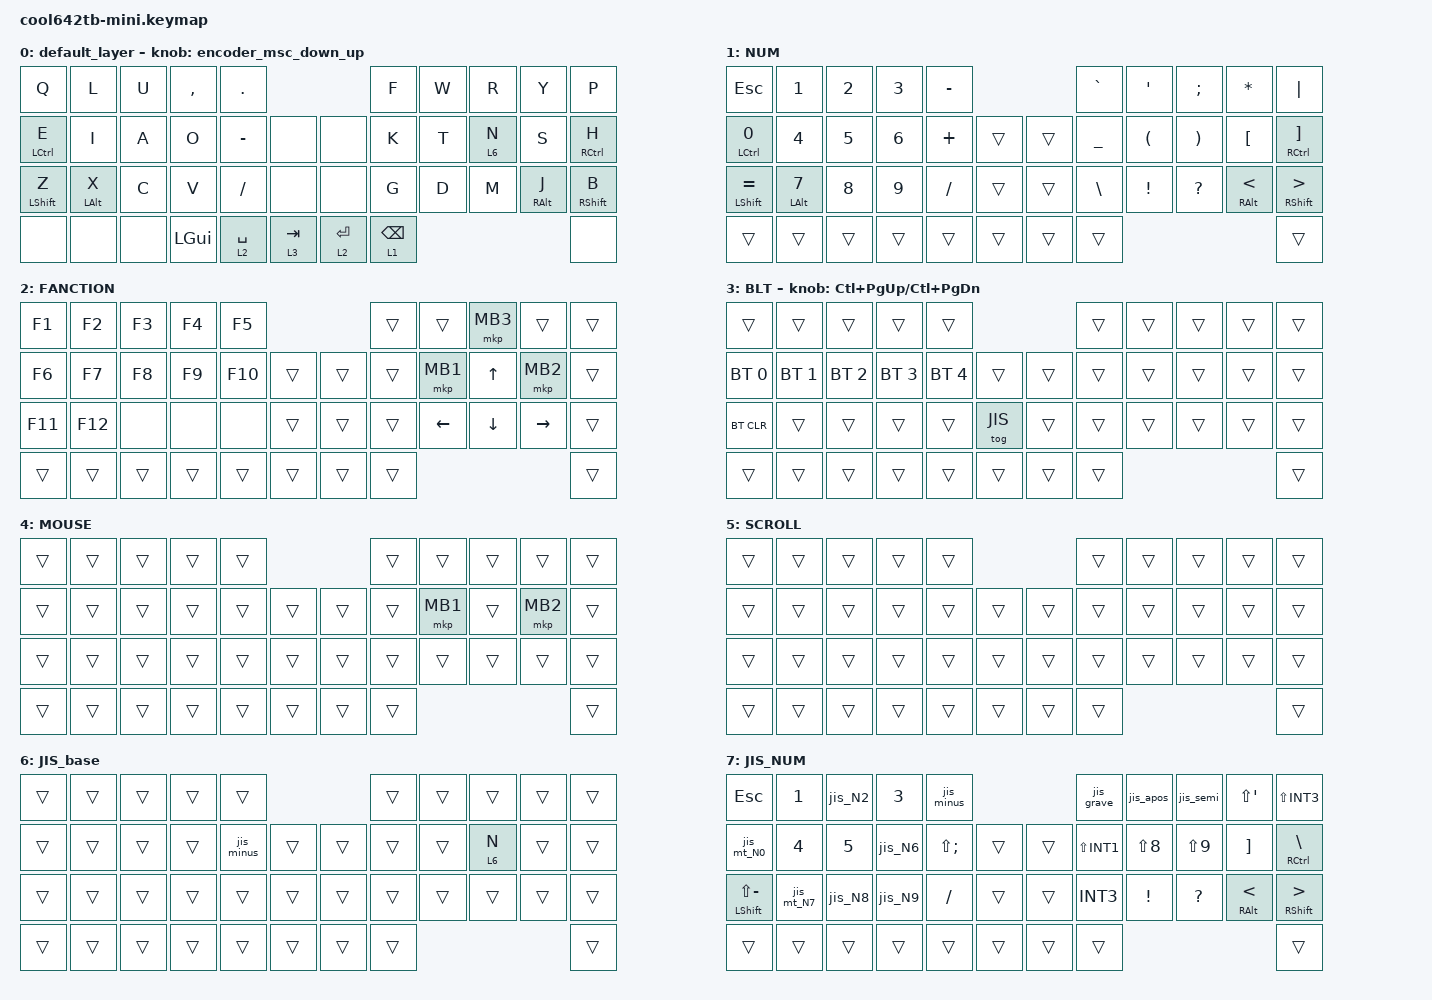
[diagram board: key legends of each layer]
#include <behaviors.dtsi>
#include <dt-bindings/zmk/bt.h>
#include <dt-bindings/zmk/keys.h>
#include <dt-bindings/zmk/pointing.h>


#define MOUSE 4
// #define SCROLL 5
#define JIS 5
#define JIS_NUM 7
#define SCROLL 6
#define ZMK_POINTING_DEFAULT_SCRL_VAL 80

&mt {
    flavor = "balanced";
    quick-tap-ms = <0>;
};

/ {
    combos {
        compatible = "zmk,combos";

        shift_tab {
            bindings = <&kp LANG2>;
            key-positions = <12 13>;
        };

        lang {
            bindings = <&kp LANG1>;
            key-positions = <18 19>;
        };
    };
    // NUM(1) + JIS(6) → JIS_NUM(7)
    conditional_layers {
        compatible = "zmk,conditional-layers";

        jis_num_activate {
            if-layers = <1 JIS>;
            then-layer = <JIS_NUM>;
        };
    };


    behaviors {
        encoder_msc_down_up: encoder_msc_down_up {
            compatible = "zmk,behavior-sensor-rotate";
            label = "ENCODER_MSC_DOWN_UP";
            #sensor-binding-cells = <0>;
            bindings = <&msc SCRL_UP>,<&msc SCRL_DOWN>;
            tap-ms = <20>;
        };

        // JIS mod-morph: [unshifted, shifted]
        // mod-morph consumes shift; LS() supplies its own

        jis_minus: jis_minus {  // - / _ → LS(INT1)
            compatible = "zmk,behavior-mod-morph";
            #binding-cells = <0>;
            bindings = <&kp MINUS>, <&kp LS(INT1)>;
            mods = <(MOD_LSFT|MOD_RSFT)>;
        };

        jis_grave: jis_grave {  // ` → LS(LBKT) / ~ → LS(EQUAL)
            compatible = "zmk,behavior-mod-morph";
            #binding-cells = <0>;
            bindings = <&kp LS(LBKT)>, <&kp LS(EQUAL)>;
            mods = <(MOD_LSFT|MOD_RSFT)>;
        };

        jis_apos: jis_apos {  // ' → LS(N7) / " → LS(N2)
            compatible = "zmk,behavior-mod-morph";
            #binding-cells = <0>;
            bindings = <&kp LS(N7)>, <&kp LS(N2)>;
            mods = <(MOD_LSFT|MOD_RSFT)>;
        };

        jis_semi: jis_semi {  // ; (same) / : → APOS
            compatible = "zmk,behavior-mod-morph";
            #binding-cells = <0>;
            bindings = <&kp SEMI>, <&kp APOS>;
            mods = <(MOD_LSFT|MOD_RSFT)>;
        };
        // Add N2, N6
        jis_N2: jis_N2 {  // 2 (same) / AT_SIGN → LBKT
            compatible = "zmk,behavior-mod-morph";
            #binding-cells = <0>;
            bindings = <&kp N2>, <&kp LBKT>;
            mods = <(MOD_LSFT|MOD_RSFT)>;
        };

        jis_N6: jis_N6 {  // 6 (same) / CARET → EQUAL
            compatible = "zmk,behavior-mod-morph";
            #binding-cells = <0>;
            bindings = <&kp N6>, <&kp EQUAL>;
            mods = <(MOD_LSFT|MOD_RSFT)>;
        };

        jis_N7: jis_N7 {  // 7 (same) / AMPERSAND → CARET
            compatible = "zmk,behavior-mod-morph";
            #binding-cells = <0>;
            bindings = <&kp N7>, <&kp CARET>;
            mods = <(MOD_LSFT|MOD_RSFT)>;
        };

        jis_mt_N7: jis_mt_N7 {
            compatible = "zmk,behavior-mod-morph";
            #binding-cells = <0>;
            bindings = <&mt LEFT_ALT N7>, <&mt LEFT_ALT CARET>;
            mods = <(MOD_LSFT|MOD_RSFT)>;
        };

        jis_N8: jis_N8 {  // 8 (same) / ASTERISK → DOUBLE_QUOTES
            compatible = "zmk,behavior-mod-morph";
            #binding-cells = <0>;
            bindings = <&kp N8>, <&kp DOUBLE_QUOTES>;
            mods = <(MOD_LSFT|MOD_RSFT)>;
        };

        jis_N9: jis_N9 {  // 9 (same) / LEFT_PARENTHESIS → ASTERISK
            compatible = "zmk,behavior-mod-morph";
            #binding-cells = <0>;
            bindings = <&kp N9>, <&kp ASTERISK>;
            mods = <(MOD_LSFT|MOD_RSFT)>;
        };

        jis_N0: jis_N0 {  // 0 (same) / RIGHT_PARENTHESIS → LEFT_PARENTHESIS
            compatible = "zmk,behavior-mod-morph";
            #binding-cells = <0>;
            bindings = <&kp N0>, <&kp LEFT_PARENTHESIS>;
            mods = <(MOD_LSFT|MOD_RSFT)>;
        };

        jis_mt_N0: jis_mt_N0 {
            compatible = "zmk,behavior-mod-morph";
            #binding-cells = <0>;
            bindings = <&mt LEFT_CONTROL N0>, <&mt LEFT_CONTROL LEFT_PARENTHESIS>;
            mods = <(MOD_LSFT|MOD_RSFT)>;
        };
    };
    
     

    keymap {
        compatible = "zmk,keymap";

        default_layer {  // 0 : default = US;
            bindings = <
&kp Q               &kp L             &kp U       &kp COMMA     &kp DOT                                            &kp F        &kp W  &kp R      &kp Y            &kp P
&mt LEFT_CONTROL E  &kp I             &kp A       &kp O         &kp MINUS    &none              &none              &kp K        &kp T  &lt 6 N    &kp S            &mt RIGHT_CONTROL H
&mt LSHIFT Z        &mt LEFT_ALT X    &kp C       &kp V         &kp SLASH    &none              &none              &kp G        &kp D  &kp M      &mt RIGHT_ALT J  &mt RSHIFT B
&none               &none             &none       &kp LEFT_GUI  &lt 2 SPACE  &lt 3 TAB          &lt 2 ENTER        &lt 1 BACKSPACE                                 &none
            >;
            
            
            sensor-bindings = <&encoder_msc_down_up>;
        };

        NUM { // 1 : US Num/Sym;
            bindings = <
&kp ESC              &kp N1          &kp N2  &kp N3  &kp MINUS                           &kp GRAVE  &kp APOS   &kp SEMI   &kp STAR          &kp PIPE
&mt LEFT_CONTROL N0  &kp N4          &kp N5  &kp N6  &kp PLUS   &trans         &trans    &kp UNDER  &kp LPAR   &kp RPAR   &kp LBKT          &mt RIGHT_CONTROL RBKT
&mt LSHIFT EQUAL     &mt LEFT_ALT N7   &kp N8  &kp N9  &kp SLASH  &trans       &trans    &kp BSLH   &kp EXCL   &kp QMARK  &mt RIGHT_ALT LT  &mt RSHIFT GT
&trans               &trans           &trans  &trans  &trans     &trans        &trans    &trans                                             &trans
            >;
        };

        FANCTION { // 2
            bindings = <
&kp F1   &kp F2   &kp F3  &kp F4  &kp F5                                &trans    &trans           &mkp MB3        &trans           &trans
&kp F6   &kp F7   &kp F8  &kp F9  &kp F10    &trans         &trans      &trans    &mkp MB1         &kp UP_ARROW    &mkp MB2         &trans
&kp F11  &kp F12  &none   &none   &none      &trans         &trans      &trans    &kp LEFT_ARROW   &kp DOWN_ARROW  &kp RIGHT_ARROW  &trans
&trans   &trans   &trans  &trans  &trans     &trans         &trans      &trans                                                      &trans
            >;
        };

        BLT { // 3
            bindings = <
&trans        &trans        &trans        &trans        &trans                             &trans  &trans  &trans  &trans  &trans
&bt BT_SEL 0  &bt BT_SEL 1  &bt BT_SEL 2  &bt BT_SEL 3  &bt BT_SEL 4   &trans      &trans  &trans  &trans  &trans  &trans  &trans
&bt BT_CLR    &trans        &trans        &trans        &trans         &tog JIS     &trans  &trans  &trans  &trans  &trans  &trans
&trans        &trans        &trans        &trans        &trans         &trans      &trans  &trans                          &trans
            >;

            sensor-bindings = <&inc_dec_kp LC(PAGE_UP) LC(PAGE_DOWN)>;
        };

        MOUSE { // 4
            bindings = <
&trans  &trans  &trans  &trans  &trans                      &trans  &trans    &trans  &trans    &trans
&trans  &trans  &trans  &trans  &trans  &trans      &trans  &trans  &mkp MB1  &trans  &mkp MB2  &trans
&trans  &trans  &trans  &trans  &trans  &trans      &trans  &trans  &trans    &trans  &trans    &trans
&trans  &trans  &trans  &trans  &trans  &trans      &trans  &trans                              &trans
            >;
        };

        SCROLL { // 5 -> 6
            bindings = <
&trans  &trans  &trans  &trans  &trans                      &trans  &trans  &trans  &trans  &trans
&trans  &trans  &trans  &trans  &trans  &trans      &trans  &trans  &trans  &trans  &trans  &trans
&trans  &trans  &trans  &trans  &trans  &trans      &trans  &trans  &trans  &trans  &trans  &trans
&trans  &trans  &trans  &trans  &trans  &trans      &trans  &trans                          &trans
            >;
        };

        JIS_base { // 6: overlay on default_layer; -> 5
            bindings = <
&trans  &trans  &trans  &trans  &trans                      &trans  &trans  &trans  &trans  &trans
&trans  &trans  &trans  &trans  &jis_minus  &trans      &trans  &trans  &trans  &lt 6 N   &trans  &trans
&trans  &trans  &trans  &trans  &trans  &trans      &trans  &trans  &trans  &trans  &trans  &trans
&trans  &trans  &trans  &trans  &trans  &trans      &trans  &trans                          &trans
            >;
        };

        JIS_NUM { // 7: auto-activated via conditional_layers;
            bindings = <
&kp ESC                 &kp N1               &jis_N2  &kp N3   &jis_minus                                &jis_grave    &jis_apos   &jis_semi  &kp LS(APOS)      &kp LS(INT3)
&jis_mt_N0              &kp N4               &kp N5   &jis_N6  &kp LS(SEMI)   &trans         &trans      &kp LS(INT1)  &kp LS(N8)  &kp LS(N9) &kp RBKT          &mt RIGHT_CONTROL BSLH
&mt LSHIFT LS(MINUS)    &jis_mt_N7           &jis_N8  &jis_N9  &kp SLASH      &trans         &trans      &kp INT3      &kp EXCL    &kp QMARK  &mt RIGHT_ALT LT  &mt RSHIFT GT
&trans                  &trans               &trans   &trans   &trans         &trans         &trans      &trans                                                 &trans
            >;
        };
    };
};
